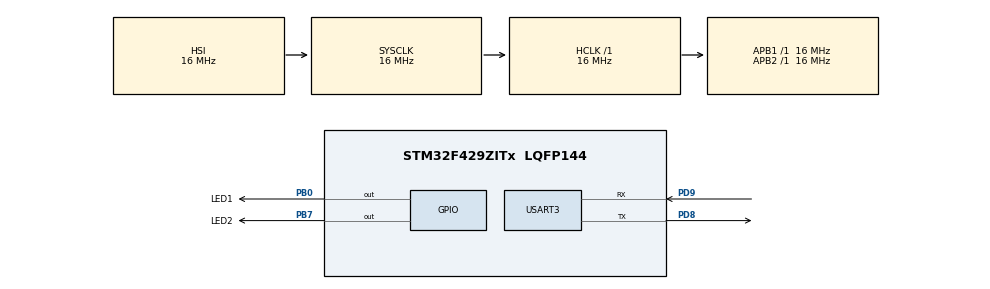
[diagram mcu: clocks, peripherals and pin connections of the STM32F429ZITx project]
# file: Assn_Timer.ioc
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Mcu.Family=STM32F4
Mcu.Name=STM32F429ZITx
Mcu.Package=LQFP144
NVIC.PriorityGroup=NVIC_PRIORITYGROUP_4
NVIC.TIM3_IRQn=true\:0\:0\:false\:true\:true\:2\:true\:true\:true
NVIC.TIM4_IRQn=true\:0\:0\:false\:true\:true\:3\:true\:true\:true
NVIC.USART3_IRQn=true\:0\:0\:false\:true\:true\:1\:true\:true\:true
PB0.GPIO_Label=LED1
PB0.Signal=GPIO_Output
PB7.GPIO_Label=LED2
PB7.Signal=GPIO_Output
PD8.Mode=Asynchronous
PD8.Signal=USART3_TX
PD9.Mode=Asynchronous
PD9.Signal=USART3_RX
ProjectManager.HeapSize=0x200
ProjectManager.StackSize=0x400
ProjectManager.TargetToolchain=STM32CubeIDE
RCC.AHBFreq_Value=16000000
RCC.APB1Freq_Value=16000000
RCC.APB2Freq_Value=16000000
RCC.CortexFreq_Value=16000000
RCC.HSE_VALUE=25000000
RCC.HSI_VALUE=16000000
RCC.LSE_VALUE=32768
RCC.SYSCLKFreq_VALUE=16000000
RCC.VCOOutputFreq_Value=192000000
TIM3.Period=99
TIM3.Prescaler=15999
TIM4.Period=99
TIM4.Prescaler=15999
USART3.VirtualMode=VM_ASYNC
VP_TIM3_VS_ClockSourceINT.Mode=Internal
VP_TIM4_VS_ClockSourceINT.Mode=Internal
board=custom

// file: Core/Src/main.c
/* USER CODE BEGIN Header */
/**
  ******************************************************************************
  * @file           : main.c
  * @brief          : Main program body
  ******************************************************************************
  * @attention
  *
  * Copyright (c) 2024 STMicroelectronics.
  * All rights reserved.
  *
  * This software is licensed under terms that can be found in the LICENSE file
  * in the root directory of this software component.
  * If no LICENSE file comes with this software, it is provided AS-IS.
  *
  ******************************************************************************
  */
/* USER CODE END Header */
#include "main.h"

/* USER CODE BEGIN Includes */
#include <string.h>
#include <stdio.h>
/* USER CODE END Includes */

TIM_HandleTypeDef htim3;
TIM_HandleTypeDef htim4;

UART_HandleTypeDef huart3;

void SystemClock_Config(void);
static void MX_GPIO_Init(void);
static void MX_TIM3_Init(void);
static void MX_TIM4_Init(void);
static void MX_USART3_UART_Init(void);
static void MX_NVIC_Init(void);
/* USER CODE BEGIN PFP */
//static void MX_TIM3_ReInit(int psc, int arr);
//static void MX_TIM4_ReInit(int psc, int arr);
/* USER CODE END PFP */

/* USER CODE BEGIN 0 */
uint8_t rx_data, rx_complete = 0;
uint8_t rx_index = 0, rx_buf[30];
uint8_t toggleTime1 = 0, toggle1 = 0;
uint8_t toggleTime2 = 0, toggle2 = 0;
/* USER CODE END 0 */

int main(void)
{

  /* MCU Configuration--------------------------------------------------------*/

  /* Reset of all peripherals, Initializes the Flash interface and the Systick. */
  HAL_Init();

  /* Configure the system clock */
  SystemClock_Config();

  /* Initialize all configured peripherals */
  MX_GPIO_Init();
  MX_TIM3_Init();
  MX_TIM4_Init();
  MX_USART3_UART_Init();

  /* Initialize interrupts */
  MX_NVIC_Init();
  /* USER CODE BEGIN 2 */
  HAL_UART_Receive_IT(&huart3, &rx_data, 1);
  /* USER CODE END 2 */

  /* Infinite loop */
  /* USER CODE BEGIN WHILE */
  while (1)
  {
	  int timerNum = rx_buf[3] - '0';
	  int num = (rx_buf[4] - '0') * 10 + (rx_buf[5] - '0');

	  if(rx_complete == 1) {
		  rx_complete = 0;

		  if(strncmp((char*)rx_buf, "TIM", 3) == 0) {
			  if(rx_buf[3] == '3' || rx_buf[3] == '4') {

				  if(num >= 0 && num <= 90) {
					  if(timerNum == 3) {
						  if(num == 0) HAL_TIM_Base_Stop_IT(&htim3);
						  else {
							  toggleTime1 = num; toggle1 = num;
							  HAL_TIM_Base_Start_IT(&htim3);
							  //MX_TIM3_ReInit(15999, (100 * num) - 1);
						  }
					  }
					  else if(timerNum == 4) {
						  if(num == 0) HAL_TIM_Base_Stop_IT(&htim4);
						  else {
							  toggleTime2 = num; toggle2 = num;
							  HAL_TIM_Base_Start_IT(&htim4);
							  //MX_TIM4_ReInit(15999, (100 * num) - 1);
						  }
					  }
				  }
			  }
		  }
	  }
  }
    /* USER CODE END WHILE */

}

void SystemClock_Config(void)
{
  RCC_OscInitTypeDef RCC_OscInitStruct = {0};
  RCC_ClkInitTypeDef RCC_ClkInitStruct = {0};

  /** Configure the main internal regulator output voltage
  */
  __HAL_RCC_PWR_CLK_ENABLE();
  __HAL_PWR_VOLTAGESCALING_CONFIG(PWR_REGULATOR_VOLTAGE_SCALE3);

  /** Initializes the RCC Oscillators according to the specified parameters
  * in the RCC_OscInitTypeDef structure.
  */
  RCC_OscInitStruct.OscillatorType = RCC_OSCILLATORTYPE_HSI;
  RCC_OscInitStruct.HSIState = RCC_HSI_ON;
  RCC_OscInitStruct.HSICalibrationValue = RCC_HSICALIBRATION_DEFAULT;
  RCC_OscInitStruct.PLL.PLLState = RCC_PLL_NONE;
  if (HAL_RCC_OscConfig(&RCC_OscInitStruct) != HAL_OK)
  {
    Error_Handler();
  }

  /** Initializes the CPU, AHB and APB buses clocks
  */
  RCC_ClkInitStruct.ClockType = RCC_CLOCKTYPE_HCLK|RCC_CLOCKTYPE_SYSCLK
                              |RCC_CLOCKTYPE_PCLK1|RCC_CLOCKTYPE_PCLK2;
  RCC_ClkInitStruct.SYSCLKSource = RCC_SYSCLKSOURCE_HSI;
  RCC_ClkInitStruct.AHBCLKDivider = RCC_SYSCLK_DIV1;
  RCC_ClkInitStruct.APB1CLKDivider = RCC_HCLK_DIV1;
  RCC_ClkInitStruct.APB2CLKDivider = RCC_HCLK_DIV1;

  if (HAL_RCC_ClockConfig(&RCC_ClkInitStruct, FLASH_LATENCY_0) != HAL_OK)
  {
    Error_Handler();
  }
}

/**
  * @brief NVIC Configuration.
  * @retval None
  */
static void MX_NVIC_Init(void)
{
  /* USART3_IRQn interrupt configuration */
  HAL_NVIC_SetPriority(USART3_IRQn, 0, 0);
  HAL_NVIC_EnableIRQ(USART3_IRQn);
  /* TIM3_IRQn interrupt configuration */
  HAL_NVIC_SetPriority(TIM3_IRQn, 0, 0);
  HAL_NVIC_EnableIRQ(TIM3_IRQn);
  /* TIM4_IRQn interrupt configuration */
  HAL_NVIC_SetPriority(TIM4_IRQn, 0, 0);
  HAL_NVIC_EnableIRQ(TIM4_IRQn);
}

static void MX_TIM3_Init(void)
{

  TIM_ClockConfigTypeDef sClockSourceConfig = {0};
  TIM_MasterConfigTypeDef sMasterConfig = {0};

  htim3.Instance = TIM3;
  htim3.Init.Prescaler = 15999;
  htim3.Init.CounterMode = TIM_COUNTERMODE_UP;
  htim3.Init.Period = 99;
  htim3.Init.ClockDivision = TIM_CLOCKDIVISION_DIV1;
  htim3.Init.AutoReloadPreload = TIM_AUTORELOAD_PRELOAD_DISABLE;
  if (HAL_TIM_Base_Init(&htim3) != HAL_OK)
  {
    Error_Handler();
  }
  sClockSourceConfig.ClockSource = TIM_CLOCKSOURCE_INTERNAL;
  if (HAL_TIM_ConfigClockSource(&htim3, &sClockSourceConfig) != HAL_OK)
  {
    Error_Handler();
  }
  sMasterConfig.MasterOutputTrigger = TIM_TRGO_RESET;
  sMasterConfig.MasterSlaveMode = TIM_MASTERSLAVEMODE_DISABLE;
  if (HAL_TIMEx_MasterConfigSynchronization(&htim3, &sMasterConfig) != HAL_OK)
  {
    Error_Handler();
  }

}

static void MX_TIM4_Init(void)
{

  TIM_ClockConfigTypeDef sClockSourceConfig = {0};
  TIM_MasterConfigTypeDef sMasterConfig = {0};

  htim4.Instance = TIM4;
  htim4.Init.Prescaler = 15999;
  htim4.Init.CounterMode = TIM_COUNTERMODE_UP;
  htim4.Init.Period = 99;
  htim4.Init.ClockDivision = TIM_CLOCKDIVISION_DIV1;
  htim4.Init.AutoReloadPreload = TIM_AUTORELOAD_PRELOAD_DISABLE;
  if (HAL_TIM_Base_Init(&htim4) != HAL_OK)
  {
    Error_Handler();
  }
  sClockSourceConfig.ClockSource = TIM_CLOCKSOURCE_INTERNAL;
  if (HAL_TIM_ConfigClockSource(&htim4, &sClockSourceConfig) != HAL_OK)
  {
    Error_Handler();
  }
  sMasterConfig.MasterOutputTrigger = TIM_TRGO_RESET;
  sMasterConfig.MasterSlaveMode = TIM_MASTERSLAVEMODE_DISABLE;
  if (HAL_TIMEx_MasterConfigSynchronization(&htim4, &sMasterConfig) != HAL_OK)
  {
    Error_Handler();
  }

}

static void MX_USART3_UART_Init(void)
{

  huart3.Instance = USART3;
  huart3.Init.BaudRate = 115200;
  huart3.Init.WordLength = UART_WORDLENGTH_8B;
  huart3.Init.StopBits = UART_STOPBITS_1;
  huart3.Init.Parity = UART_PARITY_NONE;
  huart3.Init.Mode = UART_MODE_TX_RX;
  huart3.Init.HwFlowCtl = UART_HWCONTROL_NONE;
  huart3.Init.OverSampling = UART_OVERSAMPLING_16;
  if (HAL_UART_Init(&huart3) != HAL_OK)
  {
    Error_Handler();
  }

}

static void MX_GPIO_Init(void)
{
  GPIO_InitTypeDef GPIO_InitStruct = {0};

  /* GPIO Ports Clock Enable */
  __HAL_RCC_GPIOB_CLK_ENABLE();
  __HAL_RCC_GPIOD_CLK_ENABLE();

  /*Configure GPIO pin Output Level */
  HAL_GPIO_WritePin(GPIOB, LED1_Pin|LED2_Pin, GPIO_PIN_RESET);

  /*Configure GPIO pins : LED1_Pin LED2_Pin */
  GPIO_InitStruct.Pin = LED1_Pin|LED2_Pin;
  GPIO_InitStruct.Mode = GPIO_MODE_OUTPUT_PP;
  GPIO_InitStruct.Pull = GPIO_NOPULL;
  GPIO_InitStruct.Speed = GPIO_SPEED_FREQ_LOW;
  HAL_GPIO_Init(GPIOB, &GPIO_InitStruct);

}

/* USER CODE BEGIN 4 */
//static void MX_TIM3_ReInit(int psc, int arr)
//{
//
//  /* USER CODE BEGIN TIM3_Init 0 */
//
//  /* USER CODE END TIM3_Init 0 */
//
//  TIM_ClockConfigTypeDef sClockSourceConfig = {0};
//  TIM_MasterConfigTypeDef sMasterConfig = {0};
//
//  /* USER CODE BEGIN TIM3_Init 1 */
//
//  /* USER CODE END TIM3_Init 1 */
//  htim3.Instance = TIM3;
//  htim3.Init.Prescaler = psc;
//  htim3.Init.CounterMode = TIM_COUNTERMODE_UP;
//  htim3.Init.Period = arr;
//  htim3.Init.ClockDivision = TIM_CLOCKDIVISION_DIV1;
//  htim3.Init.AutoReloadPreload = TIM_AUTORELOAD_PRELOAD_DISABLE;
//  if (HAL_TIM_Base_Init(&htim3) != HAL_OK)
//  {
//    Error_Handler();
//  }
//  sClockSourceConfig.ClockSource = TIM_CLOCKSOURCE_INTERNAL;
//  if (HAL_TIM_ConfigClockSource(&htim3, &sClockSourceConfig) != HAL_OK)
//  {
//    Error_Handler();
//  }
//  sMasterConfig.MasterOutputTrigger = TIM_TRGO_RESET;
//  sMasterConfig.MasterSlaveMode = TIM_MASTERSLAVEMODE_DISABLE;
//  if (HAL_TIMEx_MasterConfigSynchronization(&htim3, &sMasterConfig) != HAL_OK)
//  {
//    Error_Handler();
//  }
//  /* USER CODE BEGIN TIM3_Init 2 */
//
//  /* USER CODE END TIM3_Init 2 */
//
//}
//
//static void MX_TIM4_ReInit(int psc, int arr)
//{
//
//  /* USER CODE BEGIN TIM4_Init 0 */
//
//  /* USER CODE END TIM4_Init 0 */
//
//  TIM_ClockConfigTypeDef sClockSourceConfig = {0};
//  TIM_MasterConfigTypeDef sMasterConfig = {0};
//
//  /* USER CODE BEGIN TIM4_Init 1 */
//
//  /* USER CODE END TIM4_Init 1 */
//  htim4.Instance = TIM4;
//  htim4.Init.Prescaler = psc;
//  htim4.Init.CounterMode = TIM_COUNTERMODE_UP;
//  htim4.Init.Period = arr;
//  htim4.Init.ClockDivision = TIM_CLOCKDIVISION_DIV1;
//  htim4.Init.AutoReloadPreload = TIM_AUTORELOAD_PRELOAD_DISABLE;
//  if (HAL_TIM_Base_Init(&htim4) != HAL_OK)
//  {
//    Error_Handler();
//  }
//  sClockSourceConfig.ClockSource = TIM_CLOCKSOURCE_INTERNAL;
//  if (HAL_TIM_ConfigClockSource(&htim4, &sClockSourceConfig) != HAL_OK)
//  {
//    Error_Handler();
//  }
//  sMasterConfig.MasterOutputTrigger = TIM_TRGO_RESET;
//  sMasterConfig.MasterSlaveMode = TIM_MASTERSLAVEMODE_DISABLE;
//  if (HAL_TIMEx_MasterConfigSynchronization(&htim4, &sMasterConfig) != HAL_OK)
//  {
//    Error_Handler();
//  }
//  /* USER CODE BEGIN TIM4_Init 2 */
//
//  /* USER CODE END TIM4_Init 2 */
//
//}

void HAL_UART_RxCpltCallback(UART_HandleTypeDef *huart)
{
	if(huart->Instance == USART3) {
		uint8_t ch;
		ch = rx_data;

		if(ch == '\n' || ch == '\r') {
			if(rx_index == 5) {
				rx_buf[rx_index] = '0';
				rx_buf[rx_index + 1] = 0;
			}
			else {
				rx_buf[rx_index] = 0;
			}
			rx_index = 0;
			rx_complete = 1;

			char *str = "\r\n>> ";
			HAL_UART_Transmit_IT(&huart3, (uint8_t *)str, strlen(str));
		}
		else if(ch == '\b') {
			if(rx_index != 0) {
				rx_index--;
				char *str = "\b \b";
				HAL_UART_Transmit_IT(&huart3, (uint8_t *)str, strlen(str));
			}
		}
		else {
			rx_buf[rx_index++] = ch;
			HAL_UART_Transmit_IT(&huart3, &ch, 1);
		}
		HAL_UART_Receive_IT(&huart3, &rx_data, 1);
	}
}

void HAL_TIM_PeriodElapsedCallback(TIM_HandleTypeDef *htim)
{
	if(htim->Instance == TIM3) {
		if(--toggleTime1 == 0) {
			HAL_GPIO_TogglePin(GPIOB, LED1_Pin);
			toggleTime1 = toggle1;
		}
	}
	else if(htim->Instance == TIM4) {
		if(--toggleTime2 == 0) {
			HAL_GPIO_TogglePin(GPIOB, LED2_Pin);
			toggleTime2 = toggle2;
		}
	}
}
/* USER CODE END 4 */

void Error_Handler(void)
{
  __disable_irq();
  while (1)
  {
  }
}
